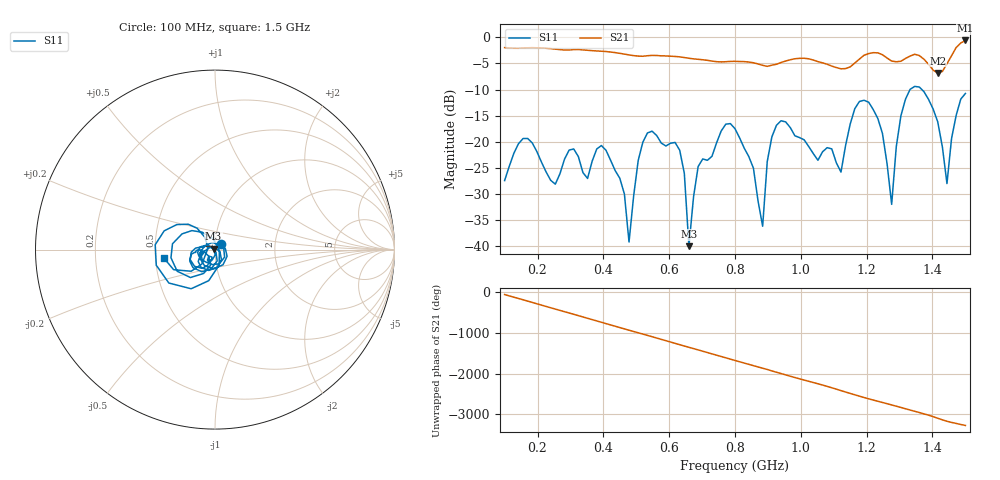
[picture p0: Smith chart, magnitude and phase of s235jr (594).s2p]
! NanoVNA-App
! Date: 2025-09-25 15:08:47
! Start: 100MHz Stop: 1,5GHz Points: 101
! S-Parameter data: F S11 S21 S12 S22
# Hz S RI R 50
!  Frequency  S11_Real  S11_Imag  S21_Real  S21_Imag  S12_Real  S12_Imag  S22_Real  S22_Imag
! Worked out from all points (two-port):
!   101 points, 100 MHz to 1.5 GHz, reference 50 ohm
!   highest |S21| = -0.59 dB at 1.5 GHz (marker M1); lowest = -6.8 dB at 1.416 GHz (marker M2)
!   |S21| within 3 dB of the highest: start of sweep to 507.5 MHz; 524.1 MHz to 598.4 MHz (74.27 MHz wide, 13.2 % of centre) (the widest 2 of 5)
!   lowest |S11| = -40.0 dB at 660 MHz (marker M3), VSWR 1.02, Z = 49.2 + j0.55 ohm
!   |S11| at or under -10 dB: start of sweep to 1.332 GHz; 1.368 GHz to end of sweep
!   S12 and S22 are empty: the file has one direction only
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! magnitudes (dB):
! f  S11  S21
! 100 MHz  -27.5  -2.0
! 156 MHz  -19.4  -2.0
! 338 MHz  -25.9  -2.4
! 408 MHz  -21.6  -2.7
! 478 MHz  -39.2  -3.4
! 520 MHz  -20.1  -3.6
! 576 MHz  -20.3  -3.5
! 632 MHz  -21.6  -3.7
! 660 MHz  -40.0  -4.0
! 688 MHz  -24.8  -4.2
! 800 MHz  -17.5  -4.6
! 884 MHz  -36.2  -5.4
! 898 MHz  -23.8  -5.6
! 926 MHz  -16.9  -5.2
! 1.038 GHz  -22.3  -4.3
! 1.122 GHz  -25.8  -6.0
! 1.206 GHz  -12.4  -3.1
! 1.276 GHz  -32.0  -4.5
! 1.332 GHz  -10.0  -3.6
! 1.416 GHz  -16.2  -6.8
! 1.444 GHz  -28.0  -5.0
! 1.5 GHz  -10.8  -0.6
